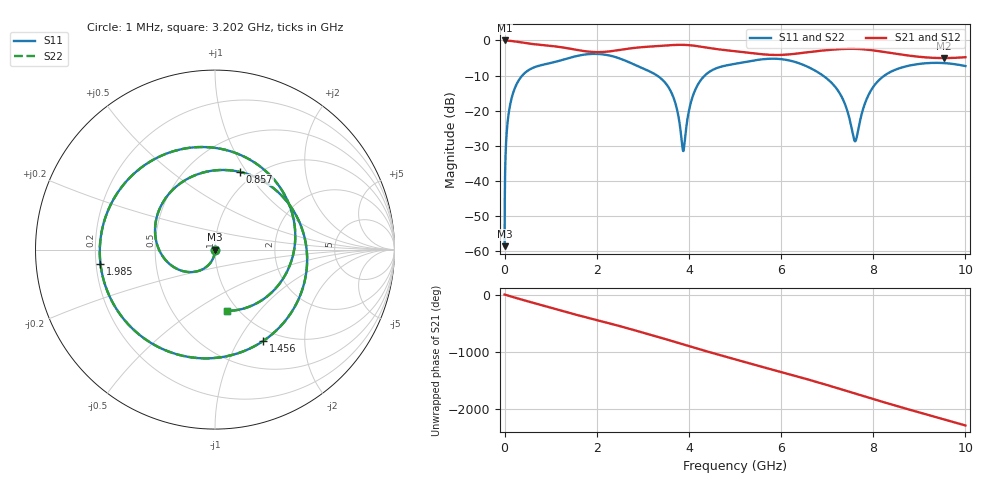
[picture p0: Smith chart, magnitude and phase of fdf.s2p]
!Created with skrf (http://scikit-rf.org).
# GHz S RI R 50.0
!freq ReS11 ImS11 ReS21 ImS21 ReS12 ImS12 ReS22 ImS22
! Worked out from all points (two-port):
!   10000 points, 1 MHz to 10 GHz, reference 50 ohm
!   highest |S21| = 0.00 dB at 1 MHz (marker M1); lowest = -5.0 dB at 9.528 GHz (marker M2)
!   |S21| within 3 dB of the highest: start of sweep to 1.711 GHz; 2.344 GHz to 4.964 GHz (2.62 GHz wide, 71.7 % of centre)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
!   lowest |S11| = -58.6 dB at 1 MHz (marker M3), VSWR 1.00, Z = 50 - j0.117 ohm
!   |S11| at or under -10 dB: start of sweep to 384.3 MHz; 3.309 GHz to 4.345 GHz (1.035 GHz wide, 27.1 % of centre); 6.908 GHz to 8.245 GHz (1.337 GHz wide, 17.6 % of centre)
!   |S22| runs from -58.6 to -3.8 dB; largest |S21 - S12| = 1e-15
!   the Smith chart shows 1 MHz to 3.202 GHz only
!   S11 on the Smith chart (normalised r, x): 1 MHz: 1.00, -0.00; 857 MHz: 0.86, +0.93; 1.456 GHz: 0.84, -1.28; 1.985 GHz: 0.22, -0.06; 3.202 GHz: 0.89, -0.69
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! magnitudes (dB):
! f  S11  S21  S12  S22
! 1 MHz  -58.6  0.0  0.0  -58.6
! 64 MHz  -23.6  0.0  0.0  -23.6
! 174 MHz  -15.5  -0.2  -0.2  -15.5
! 421 MHz  -9.5  -0.7  -0.7  -9.5
! 857 MHz  -6.8  -1.4  -1.4  -6.8
! 1.456 GHz  -4.8  -2.4  -2.4  -4.8
! 1.668 GHz  -4.2  -2.9  -2.9  -4.2
! 1.985 GHz  -3.8  -3.3  -3.3  -3.8
! 3.202 GHz  -9.2  -1.7  -1.7  -9.2
! 3.334 GHz  -10.2  -1.6  -1.6  -10.2
! 3.664 GHz  -16.2  -1.3  -1.3  -16.2
! 3.878 GHz  -31.5  -1.3  -1.3  -31.5
! 4.043 GHz  -17.7  -1.4  -1.4  -17.7
! 4.227 GHz  -11.9  -1.7  -1.7  -11.9
! 5.001 GHz  -6.7  -3.1  -3.1  -6.7
! 6.667 GHz  -8.1  -3.2  -3.2  -8.1
! 7.263 GHz  -14.9  -2.5  -2.5  -14.9
! 7.606 GHz  -28.7  -2.4  -2.4  -28.7
! 7.909 GHz  -15.2  -2.7  -2.7  -15.2
! 8.334 GHz  -9.3  -3.5  -3.5  -9.3
! 9.528 GHz  -6.4  -5.0  -5.0  -6.4
! 10 GHz  -7.3  -4.8  -4.8  -7.3
